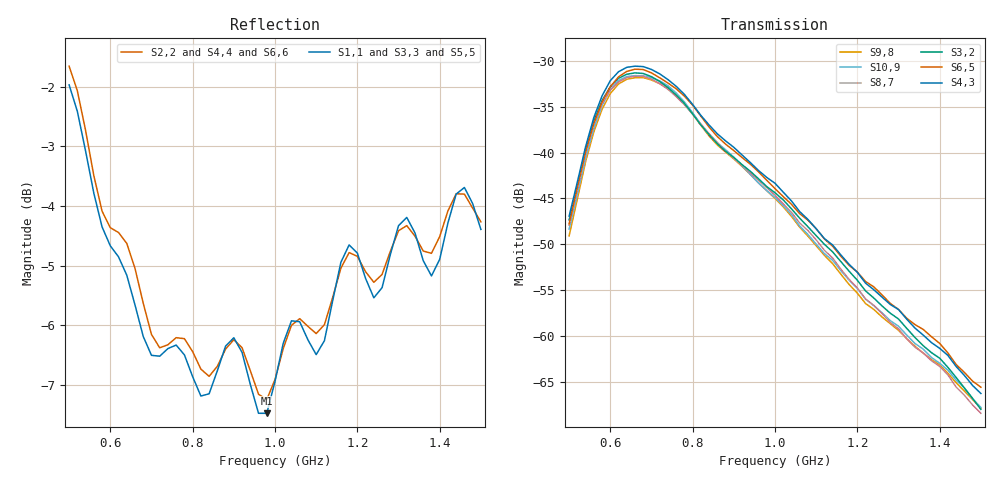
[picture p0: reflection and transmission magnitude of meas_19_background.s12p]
! Converted from meas_19_background.mat
! MATLAB 5.0 MAT-file, Platform: PCWIN64, Created on: Sat Nov 21 15:31:36 2026
! Ports 1-12 = antennas 1-12; IFBW=1000 Hz, power=0 dBm, doCalibration flag=1
! SW_A serial 12410080206: antennas 1 3 5 7 9 11
! SW_B serial 12410080235: antennas 2 4 6 8 10 12
! WARNING: Sij (i!=j) between two odd or two even ports was NOT MEASURED (NaN in source).
! Those entries are written as 0 0 placeholders. Do not treat them as data.
! Reference impedance 50 ohm is assumed (not stored in source).
# Hz S RI R 50
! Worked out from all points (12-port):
!   51 points, 500 MHz to 1.5 GHz, reference 50 ohm
!   strongest paths, dB at 500 MHz, 740 MHz, 1 GHz, 1.26 GHz, 1.5 GHz:
!     S4,3: -46.9, -32.0, -43.3, -55.8, -66.3
!     S6,5: -47.8, -32.4, -43.9, -55.5, -65.6
!     S3,2: -47.3, -32.9, -44.4, -56.7, -68.0
!     S8,7: -47.9, -33.1, -44.6, -57.5, -68.4
!     S10,9: -48.3, -32.7, -44.9, -57.5, -67.8
!     S9,8: -49.1, -33.0, -45.0, -57.9, -67.9
!   lowest |S11| = -7.5 dB at 980 MHz (marker M1), VSWR 2.47, Z = 26.9 - j25.3 ohm
!   |S11| at or under -10 dB: nowhere
